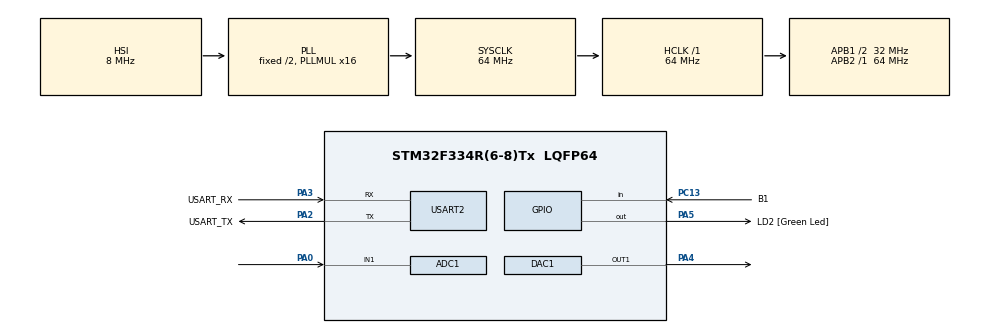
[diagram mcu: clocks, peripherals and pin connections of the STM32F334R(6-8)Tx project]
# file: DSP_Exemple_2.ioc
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ADC1.Channel-0\#ChannelRegularConversion=ADC_CHANNEL_1
ADC1.NbrOfConversionFlag=1
ADC1.Offset-0\#ChannelRegularConversion=0
ADC1.OffsetNumber-0\#ChannelRegularConversion=ADC_OFFSET_NONE
ADC1.Rank-0\#ChannelRegularConversion=1
ADC1.SamplingTime-0\#ChannelRegularConversion=ADC_SAMPLETIME_1CYCLE_5
ADC1.SubFamily=STM32F334x8
ADC1.master=1
Mcu.Family=STM32F3
Mcu.Name=STM32F334R(6-8)Tx
Mcu.Package=LQFP64
NVIC.ADC1_2_IRQn=true\:0\:0\:false\:true\:true\:1\:true
NVIC.PriorityGroup=NVIC_PRIORITYGROUP_0
NVIC.TIM3_IRQn=true\:0\:0\:false\:true\:true\:2\:true
PA0.Mode=IN1-Single-Ended
PA0.Signal=ADC1_IN1
PA13.GPIO_Label=TMS
PA13.Mode=Serial_Wire
PA13.Signal=SYS_JTMS-SWDIO
PA14.GPIO_Label=TCK
PA14.Mode=Serial_Wire
PA14.Signal=SYS_JTCK-SWCLK
PA2.GPIO_Label=USART_TX
PA2.Mode=Asynchronous
PA2.Signal=USART2_TX
PA3.GPIO_Label=USART_RX
PA3.Mode=Asynchronous
PA3.Signal=USART2_RX
PA4.Signal=COMP_DAC11_group
PA5.GPIO_Label=LD2 [Green Led]
PA5.Signal=GPIO_Output
PB3.GPIO_Label=SWO
PB3.Signal=SYS_JTDO-TRACESWO
PC13.GPIO_Label=B1
PC13.Signal=GPIO_Input
PC14\ /\ OSC32_IN.Mode=LSE-External-Oscillator
PC14\ /\ OSC32_IN.Signal=RCC_OSC32_IN
PC15\ /\ OSC32_OUT.GPIO_Label=RCC_OSC32_OUT
PC15\ /\ OSC32_OUT.Mode=LSE-External-Oscillator
PC15\ /\ OSC32_OUT.Signal=RCC_OSC32_OUT
PF0\ /\ OSC_IN.Mode=HSE-External-Clock-Source
PF0\ /\ OSC_IN.Signal=RCC_OSC_IN
PF1\ /\ OSC_OUT.Signal=RCC_OSC_OUT
ProjectManager.HeapSize=0x200
ProjectManager.StackSize=0x400
ProjectManager.TargetToolchain=TrueSTUDIO
RCC.AHBFreq_Value=64000000
RCC.APB1CLKDivider=RCC_HCLK_DIV2
RCC.APB1Freq_Value=32000000
RCC.APB1TimFreq_Value=64000000
RCC.APB2Freq_Value=64000000
RCC.APB2TimFreq_Value=64000000
RCC.CortexFreq_Value=64000000
RCC.FLatency-AdvancedSettings=FLASH_LATENCY_2
RCC.HCLKFreq_Value=64000000
RCC.HSE_VALUE=8000000
RCC.HSI_VALUE=8000000
RCC.PLLMUL=RCC_PLL_MUL16
RCC.SYSCLKFreq_VALUE=64000000
RCC.SYSCLKSourceVirtual=RCC_SYSCLKSOURCE_PLLCLK
SH.COMP_DAC11_group.0=DAC1_OUT1,DAC_OUT1
TIM3.Channel-Output\ Compare1\ No\ Output=TIM_CHANNEL_1
TIM3.Period=64
TIM3.Prescaler=100
USART2.VirtualMode-Asynchronous=VM_ASYNC
VP_TIM3_VS_no_output1.Mode=Output Compare1 No Output
board=NUCLEO-F334R8

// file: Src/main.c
/*
 * Nomes: Felipe Pasini Graeff e Vinicius da Rosa Frohlich
 */

/**
  ******************************************************************************
  * @file           : main.c
  * @brief          : Main program body
  ******************************************************************************
  ** This notice applies to any and all portions of this file
  * that are not between comment pairs USER CODE BEGIN and
  * USER CODE END. Other portions of this file, whether
  * inserted by the user or by software development tools
  * are owned by their respective copyright owners.
  *
  * COPYRIGHT(c) 2018 STMicroelectronics
  *
  * Redistribution and use in source and binary forms, with or without modification,
  * are permitted provided that the following conditions are met:
  *   1. Redistributions of source code must retain the above copyright notice,
  *      this list of conditions and the following disclaimer.
  *   2. Redistributions in binary form must reproduce the above copyright notice,
  *      this list of conditions and the following disclaimer in the documentation
  *      and/or other materials provided with the distribution.
  *   3. Neither the name of STMicroelectronics nor the names of its contributors
  *      may be used to endorse or promote products derived from this software
  *      without specific prior written permission.
  *
  * THIS SOFTWARE IS PROVIDED BY THE COPYRIGHT HOLDERS AND CONTRIBUTORS "AS IS"
  * AND ANY EXPRESS OR IMPLIED WARRANTIES, INCLUDING, BUT NOT LIMITED TO, THE
  * IMPLIED WARRANTIES OF MERCHANTABILITY AND FITNESS FOR A PARTICULAR PURPOSE ARE
  * DISCLAIMED. IN NO EVENT SHALL THE COPYRIGHT HOLDER OR CONTRIBUTORS BE LIABLE
  * FOR ANY DIRECT, INDIRECT, INCIDENTAL, SPECIAL, EXEMPLARY, OR CONSEQUENTIAL
  * DAMAGES (INCLUDING, BUT NOT LIMITED TO, PROCUREMENT OF SUBSTITUTE GOODS OR
  * SERVICES; LOSS OF USE, DATA, OR PROFITS; OR BUSINESS INTERRUPTION) HOWEVER
  * CAUSED AND ON ANY THEORY OF LIABILITY, WHETHER IN CONTRACT, STRICT LIABILITY,
  * OR TORT (INCLUDING NEGLIGENCE OR OTHERWISE) ARISING IN ANY WAY OUT OF THE USE
  * OF THIS SOFTWARE, EVEN IF ADVISED OF THE POSSIBILITY OF SUCH DAMAGE.
  *
  ******************************************************************************
  */
#include "main.h"
#include "stm32f3xx_hal.h"

ADC_HandleTypeDef hadc1;

DAC_HandleTypeDef hdac1;

TIM_HandleTypeDef htim3;

UART_HandleTypeDef huart2;

/* USER CODE BEGIN PV */
/* Private variables ---------------------------------------------------------*/
//Variavel com o valor lido do ADC.
//volatile uint32_t g_ADCValue, g_DACValue;
//uint8_t buffer[50];

//f sampling = 9.76kHz
//fc = 100Hz
const float a0 = 1;
const float a1 = -1.9090286289491851;
const float a2 = 0.9129913464756405;
const float b0 = 0.0009906793816138154;
const float b1 = 0.0019813587632276307;
const float b2 = 0.0009906793816138154;

/* USER CODE END PV */

void SystemClock_Config(void);
static void MX_GPIO_Init(void);
static void MX_USART2_UART_Init(void);
static void MX_DAC1_Init(void);
static void MX_ADC1_Init(void);
static void MX_TIM3_Init(void);
static void MX_NVIC_Init(void);

/* USER CODE BEGIN PFP */
/* Private function prototypes -----------------------------------------------*/

/* USER CODE END PFP */

int main(void)
{

  /* MCU Configuration----------------------------------------------------------*/

  /* Reset of all peripherals, Initializes the Flash interface and the Systick. */
  HAL_Init();

  /* Configure the system clock */
  SystemClock_Config();

  /* Initialize all configured peripherals */
  MX_GPIO_Init();
  MX_USART2_UART_Init();
  MX_DAC1_Init();
  MX_ADC1_Init();
  MX_TIM3_Init();

  /* Initialize interrupts */
  MX_NVIC_Init();

  /* Infinite loop */
  /* USER CODE BEGIN WHILE */

  HAL_TIM_Base_Start_IT(&htim3);
  HAL_DAC_Start(&hdac1, DAC_CHANNEL_1);
  while (1)
  {
	  //itoa(g_ADCValue, (uint8_t*)buffer, 10);
	  //HAL_UART_Transmit(&huart2, (uint8_t*)buffer, 4, 100);

	  //g_DACValue = g_ADCValue;
	  //HAL_DAC_SetValue(&hdac1, DAC_CHANNEL_1,DAC_ALIGN_12B_R,g_DACValue);

	 //HAL_Delay(500);
  /* USER CODE END WHILE */

  }

}

void SystemClock_Config(void)
{

  RCC_OscInitTypeDef RCC_OscInitStruct;
  RCC_ClkInitTypeDef RCC_ClkInitStruct;
  RCC_PeriphCLKInitTypeDef PeriphClkInit;

    /**Initializes the CPU, AHB and APB busses clocks
    */
  RCC_OscInitStruct.OscillatorType = RCC_OSCILLATORTYPE_HSI;
  RCC_OscInitStruct.HSIState = RCC_HSI_ON;
  RCC_OscInitStruct.HSICalibrationValue = 16;
  RCC_OscInitStruct.PLL.PLLState = RCC_PLL_ON;
  RCC_OscInitStruct.PLL.PLLSource = RCC_PLLSOURCE_HSI;
  RCC_OscInitStruct.PLL.PLLMUL = RCC_PLL_MUL16;
  if (HAL_RCC_OscConfig(&RCC_OscInitStruct) != HAL_OK)
  {
    _Error_Handler(__FILE__, __LINE__);
  }

    /**Initializes the CPU, AHB and APB busses clocks
    */
  RCC_ClkInitStruct.ClockType = RCC_CLOCKTYPE_HCLK|RCC_CLOCKTYPE_SYSCLK
                              |RCC_CLOCKTYPE_PCLK1|RCC_CLOCKTYPE_PCLK2;
  RCC_ClkInitStruct.SYSCLKSource = RCC_SYSCLKSOURCE_PLLCLK;
  RCC_ClkInitStruct.AHBCLKDivider = RCC_SYSCLK_DIV1;
  RCC_ClkInitStruct.APB1CLKDivider = RCC_HCLK_DIV2;
  RCC_ClkInitStruct.APB2CLKDivider = RCC_HCLK_DIV1;

  if (HAL_RCC_ClockConfig(&RCC_ClkInitStruct, FLASH_LATENCY_2) != HAL_OK)
  {
    _Error_Handler(__FILE__, __LINE__);
  }

  PeriphClkInit.PeriphClockSelection = RCC_PERIPHCLK_ADC12;
  PeriphClkInit.Adc12ClockSelection = RCC_ADC12PLLCLK_DIV1;
  if (HAL_RCCEx_PeriphCLKConfig(&PeriphClkInit) != HAL_OK)
  {
    _Error_Handler(__FILE__, __LINE__);
  }

    /**Configure the Systick interrupt time
    */
  HAL_SYSTICK_Config(HAL_RCC_GetHCLKFreq()/1000);

    /**Configure the Systick
    */
  HAL_SYSTICK_CLKSourceConfig(SYSTICK_CLKSOURCE_HCLK);

  /* SysTick_IRQn interrupt configuration */
  HAL_NVIC_SetPriority(SysTick_IRQn, 0, 0);
}

/**
  * @brief NVIC Configuration.
  * @retval None
  */
static void MX_NVIC_Init(void)
{
  /* ADC1_2_IRQn interrupt configuration */
  HAL_NVIC_SetPriority(ADC1_2_IRQn, 0, 0);
  HAL_NVIC_EnableIRQ(ADC1_2_IRQn);
  /* TIM3_IRQn interrupt configuration */
  HAL_NVIC_SetPriority(TIM3_IRQn, 0, 0);
  HAL_NVIC_EnableIRQ(TIM3_IRQn);
}

/* ADC1 init function */
static void MX_ADC1_Init(void)
{

  ADC_MultiModeTypeDef multimode;
  ADC_ChannelConfTypeDef sConfig;

    /**Common config
    */
  hadc1.Instance = ADC1;
  hadc1.Init.ClockPrescaler = ADC_CLOCK_ASYNC_DIV1;
  hadc1.Init.Resolution = ADC_RESOLUTION_12B;
  hadc1.Init.ScanConvMode = ADC_SCAN_DISABLE;
  hadc1.Init.ContinuousConvMode = DISABLE;
  hadc1.Init.DiscontinuousConvMode = DISABLE;
  hadc1.Init.ExternalTrigConvEdge = ADC_EXTERNALTRIGCONVEDGE_NONE;
  hadc1.Init.ExternalTrigConv = ADC_SOFTWARE_START;
  hadc1.Init.DataAlign = ADC_DATAALIGN_RIGHT;
  hadc1.Init.NbrOfConversion = 1;
  hadc1.Init.DMAContinuousRequests = DISABLE;
  hadc1.Init.EOCSelection = ADC_EOC_SINGLE_CONV;
  hadc1.Init.LowPowerAutoWait = DISABLE;
  hadc1.Init.Overrun = ADC_OVR_DATA_OVERWRITTEN;
  if (HAL_ADC_Init(&hadc1) != HAL_OK)
  {
    _Error_Handler(__FILE__, __LINE__);
  }

    /**Configure the ADC multi-mode
    */
  multimode.Mode = ADC_MODE_INDEPENDENT;
  if (HAL_ADCEx_MultiModeConfigChannel(&hadc1, &multimode) != HAL_OK)
  {
    _Error_Handler(__FILE__, __LINE__);
  }

    /**Configure Regular Channel
    */
  sConfig.Channel = ADC_CHANNEL_1;
  sConfig.Rank = ADC_REGULAR_RANK_1;
  sConfig.SingleDiff = ADC_SINGLE_ENDED;
  sConfig.SamplingTime = ADC_SAMPLETIME_1CYCLE_5;
  sConfig.OffsetNumber = ADC_OFFSET_NONE;
  sConfig.Offset = 0;
  if (HAL_ADC_ConfigChannel(&hadc1, &sConfig) != HAL_OK)
  {
    _Error_Handler(__FILE__, __LINE__);
  }

}

/* DAC1 init function */
static void MX_DAC1_Init(void)
{

  DAC_ChannelConfTypeDef sConfig;

    /**DAC Initialization
    */
  hdac1.Instance = DAC1;
  if (HAL_DAC_Init(&hdac1) != HAL_OK)
  {
    _Error_Handler(__FILE__, __LINE__);
  }

    /**DAC channel OUT1 config
    */
  sConfig.DAC_Trigger = DAC_TRIGGER_NONE;
  sConfig.DAC_OutputBuffer = DAC_OUTPUTBUFFER_ENABLE;
  if (HAL_DAC_ConfigChannel(&hdac1, &sConfig, DAC_CHANNEL_1) != HAL_OK)
  {
    _Error_Handler(__FILE__, __LINE__);
  }

}

/* TIM3 init function */
static void MX_TIM3_Init(void)
{

  TIM_MasterConfigTypeDef sMasterConfig;
  TIM_OC_InitTypeDef sConfigOC;

  htim3.Instance = TIM3;
  htim3.Init.Prescaler = 100;
  htim3.Init.CounterMode = TIM_COUNTERMODE_UP;
  htim3.Init.Period = 64;
  htim3.Init.ClockDivision = TIM_CLOCKDIVISION_DIV1;
  htim3.Init.AutoReloadPreload = TIM_AUTORELOAD_PRELOAD_DISABLE;
  if (HAL_TIM_OC_Init(&htim3) != HAL_OK)
  {
    _Error_Handler(__FILE__, __LINE__);
  }

  sMasterConfig.MasterOutputTrigger = TIM_TRGO_RESET;
  sMasterConfig.MasterSlaveMode = TIM_MASTERSLAVEMODE_DISABLE;
  if (HAL_TIMEx_MasterConfigSynchronization(&htim3, &sMasterConfig) != HAL_OK)
  {
    _Error_Handler(__FILE__, __LINE__);
  }

  sConfigOC.OCMode = TIM_OCMODE_TIMING;
  sConfigOC.Pulse = 0;
  sConfigOC.OCPolarity = TIM_OCPOLARITY_HIGH;
  sConfigOC.OCFastMode = TIM_OCFAST_DISABLE;
  if (HAL_TIM_OC_ConfigChannel(&htim3, &sConfigOC, TIM_CHANNEL_1) != HAL_OK)
  {
    _Error_Handler(__FILE__, __LINE__);
  }

}

/* USART2 init function */
static void MX_USART2_UART_Init(void)
{

  huart2.Instance = USART2;
  huart2.Init.BaudRate = 38400;
  huart2.Init.StopBits = UART_STOPBITS_1;
  huart2.Init.Parity = UART_PARITY_NONE;
  huart2.Init.Mode = UART_MODE_TX_RX;
  huart2.Init.HwFlowCtl = UART_HWCONTROL_NONE;
  huart2.Init.OverSampling = UART_OVERSAMPLING_16;
  huart2.Init.OneBitSampling = UART_ONE_BIT_SAMPLE_DISABLE;
  huart2.AdvancedInit.AdvFeatureInit = UART_ADVFEATURE_NO_INIT;
  if (HAL_UART_Init(&huart2) != HAL_OK)
  {
    _Error_Handler(__FILE__, __LINE__);
  }

}

/** Configure pins as
        * Analog
        * Input
        * Output
        * EVENT_OUT
        * EXTI
*/
static void MX_GPIO_Init(void)
{

  GPIO_InitTypeDef GPIO_InitStruct;

  /* GPIO Ports Clock Enable */
  __HAL_RCC_GPIOC_CLK_ENABLE();
  __HAL_RCC_GPIOF_CLK_ENABLE();
  __HAL_RCC_GPIOA_CLK_ENABLE();
  __HAL_RCC_GPIOB_CLK_ENABLE();

  /*Configure GPIO pin Output Level */
  HAL_GPIO_WritePin(LD2_GPIO_Port, LD2_Pin, GPIO_PIN_RESET);

  /*Configure GPIO pin : B1_Pin */
  GPIO_InitStruct.Pin = B1_Pin;
  GPIO_InitStruct.Mode = GPIO_MODE_INPUT;
  GPIO_InitStruct.Pull = GPIO_NOPULL;
  HAL_GPIO_Init(B1_GPIO_Port, &GPIO_InitStruct);

  /*Configure GPIO pin : LD2_Pin */
  GPIO_InitStruct.Pin = LD2_Pin;
  GPIO_InitStruct.Mode = GPIO_MODE_OUTPUT_PP;
  GPIO_InitStruct.Pull = GPIO_NOPULL;
  GPIO_InitStruct.Speed = GPIO_SPEED_FREQ_LOW;
  HAL_GPIO_Init(LD2_GPIO_Port, &GPIO_InitStruct);

}

/* USER CODE BEGIN 4 */

void HAL_TIM_PeriodElapsedCallback(TIM_HandleTypeDef *htim)
{
	HAL_ADC_Start_IT(&hadc1);
}

void HAL_ADC_ConvCpltCallback(ADC_HandleTypeDef* hadc)
{
	static float yh1 = 0;
	static float yh2 = 0;
	static float xh1 = 0;
	static float xh2 = 0;

	uint16_t x = HAL_ADC_GetValue(&hadc1);

    uint16_t y = b0*x + b1*xh1 + b2*xh2 -a1*yh1 - a2*yh2;

    yh2=yh1;
    yh1=y;

    xh2=xh1;
    xh1=x;

	HAL_GPIO_TogglePin(GPIOA, GPIO_PIN_5);
	HAL_DAC_SetValue(&hdac1, DAC_CHANNEL_1,DAC_ALIGN_12B_R,y);
}

/* USER CODE END 4 */

void _Error_Handler(char *file, int line)
{
  while(1)
  {
  }
}

/************************ (C) COPYRIGHT STMicroelectronics *****END OF FILE****/
